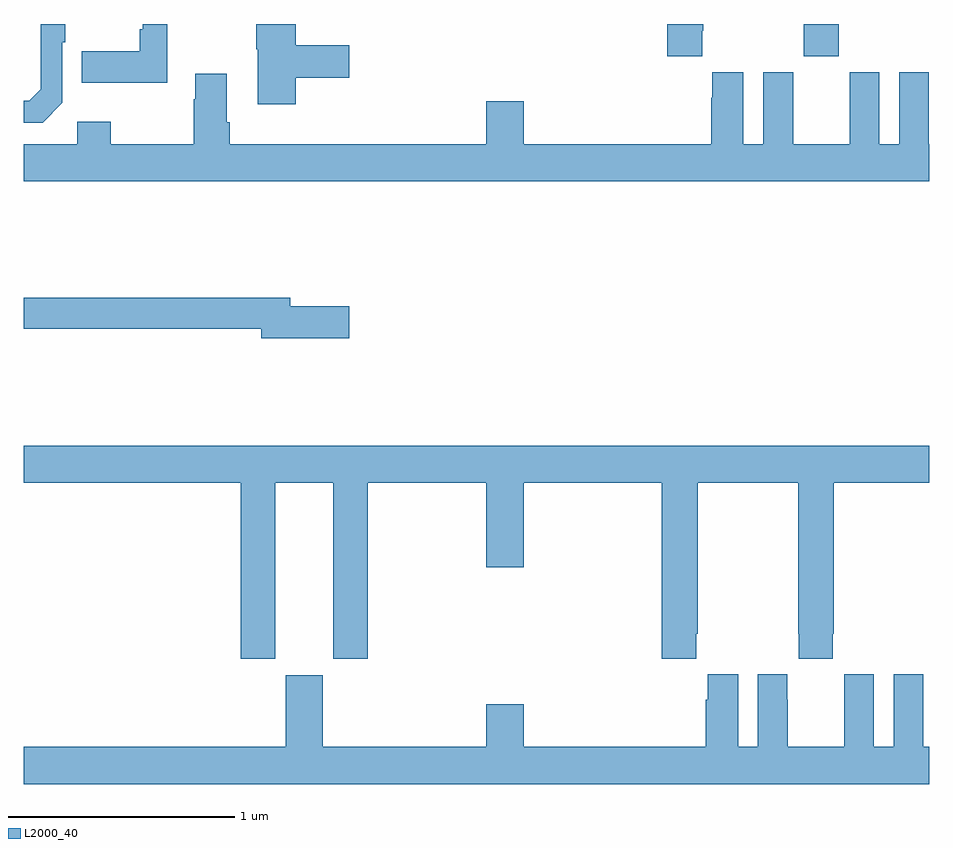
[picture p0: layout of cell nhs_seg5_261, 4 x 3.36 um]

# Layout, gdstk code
import gdstk
lib = gdstk.Library(unit=1e-6, precision=1e-09)
def R(c, l, rs):  # rectangles x0, y0, x1, y1
    for r in rs: c.add(gdstk.rectangle(r[:2], r[2:], *l))
def P(c, l, *ps):  # polygons
    for p in ps: c.add(gdstk.Polygon(p, *l))
L2000_40 = (2000, 40)

nhs_seg5_261 = lib.new_cell('nhs_seg5_261')
R(nhs_seg5_261, L2000_40, [(130.447,846.657,130.602,846.799)])
P(nhs_seg5_261, L2000_40, [(127.633,846.799),(127.524,846.799),(127.524,846.775),(127.512,846.775),(127.512,846.679),(127.255,846.679),(127.255,846.539),(127.633,846.539)],
  [(129.997,846.769),(130.002,846.769),(130.002,846.799),(129.842,846.799),(129.842,846.657),(129.997,846.657)],
  [(128.201,846.562),(128.437,846.562),(128.437,846.704),(128.201,846.704),(128.201,846.799),(128.026,846.799),(128.026,846.687),(128.033,846.687),(128.033,846.444),(128.201,846.444)],
  [(127.17,846.45),(127.17,846.719),(127.183,846.719),(127.183,846.799),(127.074,846.799),(127.074,846.51),(127.023,846.459),(127,846.459),(127,846.363),(127.083,846.363)],
  [(127.236,846.367),(127.236,846.268),(127,846.268),(127,846.104),(131,846.104),(131,846.268),(130.999,846.268),(130.999,846.586),(130.868,846.586),(130.868,846.268),(130.78,846.268),(130.78,846.586),(130.649,846.586),(130.649,846.268),(130.399,846.268),(130.399,846.586),(130.268,846.586),(130.268,846.268),(130.18,846.268),(130.18,846.586),(130.043,846.586),(130.043,846.473),(130.037,846.473),(130.037,846.268),(129.208,846.268),(129.208,846.457),(129.044,846.457),(129.044,846.268),(127.91,846.268),(127.91,846.364),(127.897,846.364),(127.897,846.58),(127.757,846.58),(127.757,846.467),(127.75,846.467),(127.75,846.268),(127.383,846.268),(127.383,846.367)],
  [(128.437,845.552),(128.176,845.552),(128.176,845.588),(127,845.588),(127,845.452),(128.048,845.452),(128.048,845.41),(128.437,845.41)],
  [(128.11,844.772),(128.366,844.772),(128.366,843.993),(128.519,843.993),(128.519,844.772),(129.044,844.772),(129.044,844.398),(129.208,844.398),(129.208,844.772),(129.818,844.772),(129.818,843.993),(129.971,843.993),(129.971,844.105),(129.977,844.105),(129.977,844.772),(130.423,844.772),(130.423,844.105),(130.425,844.105),(130.425,843.993),(130.575,843.993),(130.575,844.105),(130.578,844.105),(130.578,844.772),(131,844.772),(131,844.936),(127,844.936),(127,844.772),(127.958,844.772),(127.958,843.993),(128.11,843.993)],
  [(131,843.604),(130.975,843.604),(130.975,843.812),(130.974,843.812),(130.974,843.925),(130.844,843.925),(130.844,843.604),(130.756,843.604),(130.756,843.925),(130.626,843.925),(130.626,843.812),(130.625,843.812),(130.625,843.604),(130.375,843.604),(130.375,843.812),(130.374,843.812),(130.374,843.925),(130.244,843.925),(130.244,843.604),(130.156,843.604),(130.156,843.925),(130.022,843.925),(130.022,843.812),(130.013,843.812),(130.013,843.604),(129.208,843.604),(129.208,843.793),(129.044,843.793),(129.044,843.604),(128.32,843.604),(128.32,843.921),(128.156,843.921),(128.156,843.604),(127,843.604),(127,843.44),(131,843.44)])

lib.write_gds('nhs_seg5_261.gds')
